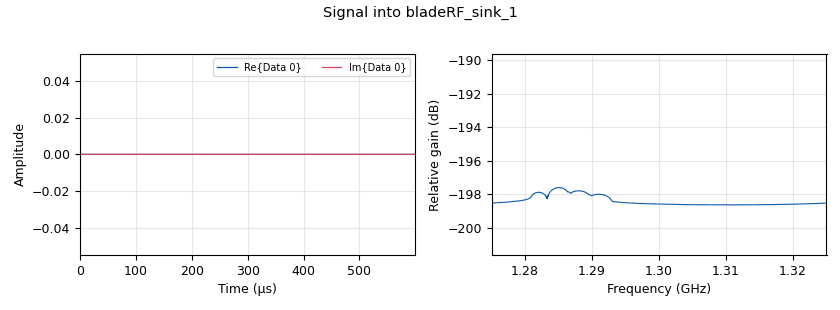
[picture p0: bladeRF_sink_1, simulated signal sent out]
options:
  parameters:
    generate_options: no_gui
    id: chirp_generator
    output_language: python
    title: hola soy la gui
  states: {}

blocks:
- name: P
  id: variable
  parameters:
    value: '1'
  states: {}
- name: PRF
  id: variable
  parameters:
    value: '500'
  states: {}
- name: PRI
  id: variable
  parameters:
    value: 1/PRF
  states: {}
- name: T_chirp
  id: variable
  parameters:
    value: 0.5/PRF
  states: {}
- name: f_end
  id: variable
  parameters:
    value: 19e6
  states: {}
- name: f_start
  id: variable
  parameters:
    value: '-19e6'
  states: {}
- name: fs
  id: variable
  parameters:
    value: 50e6
  states: {}
- name: samples_for_pulse
  id: variable
  parameters:
    value: fs*PRI
  states: {}
- name: analog_sig_source_x_0
  id: analog_sig_source_x
  parameters:
    amp: '1'
    freq: '0'
    offset: '0'
    phase: '0'
    samp_rate: fs
    type: complex
    waveform: analog.GR_COS_WAVE
  states: {state: disabled}
- name: bladeRF_sink_1
  id: bladeRF_sink
  parameters:
    bias_tee0: 'False'
    bias_tee1: 'False'
    buffers: '16'
    buflen: '2500'
    bw: 38e6
    dac: '10000'
    dc_calibration: LPF_TUNING
    device_id: '0'
    feature: default
    fpga_image: ''
    fpga_reload: 'False'
    freq: 1.3e9
    gain0: '20'
    gain1: '10'
    if_gain0: '20'
    if_gain1: '20'
    in_clk: ONBOARD
    lpf_mode: disabled
    metadata: 'True'
    nchan: '1'
    out_clk: 'False'
    ref_clk: 10e6
    sample_format: 16bit
    sample_rate: fs
    sampling: internal
    show_pmic: 'False'
    smb: '0'
    tamer: internal
    trigger0: 'False'
    trigger1: 'False'
    trigger_role0: master
    trigger_role1: master
    trigger_signal0: J51_1
    trigger_signal1: J51_1
    use_dac: 'False'
    use_ref_clk: 'True'
    verbosity: verbose
    xb200: none
  states: {}
- name: blocks_add_const_vxx_0
  id: blocks_add_const_vxx
  parameters:
    const: '0'
    type: complex
  states: {}
- name: epy_block_0
  id: epy_block
  parameters:
    _source_code: "import numpy as np\nfrom gnuradio import gr\n\nclass Pulse_generator(gr.sync_block):\n    def __init__(self, f_start=-100e3, f_end=100e3, t_chirp=0.5e-3, prf=1e3, fs=1e6, potencia=1.0, modo='up'):\n        gr.sync_block.__init__(\n            self,\n            name='Pulse_generator',   \n            in_sig=[],\n            out_sig=[np.complex64]\n        )\n        \n        self.f_start = f_start\n        self.f_end = f_end\n        self.t_chirp = t_chirp\n        self.prf = prf\n        self.fs = fs\n        self.potencia = potencia\n        self.modo = modo.lower()\n        self.amplitud = np.sqrt(potencia)\n\n        self.N = 2**32  # tamaño del acumulador de fase (32 bits)\n        self.samples_per_chirp = int(self.t_chirp * self.fs)\n        self.samples_per_pri = int((1 / self.prf) * self.fs)\n\n        # Para modo down invierto f_start y f_end\n        if self.modo == 'down':\n            f1 = self.f_end\n            f2 = self.f_start\n        else:\n            f1 = self.f_start\n            f2 = self.f_end\n\n        # Array de FTW en float64 para soportar valores negativos\n        self.ftw_array = np.linspace(\n            f1 * self.N / self.fs,\n            f2 * self.N / self.fs,\n            self.samples_per_chirp\n        ).astype(np.float64)\n\n        # Buffer PRI completo\n        self.pri_buffer = np.zeros(self.samples_per_pri, dtype=np.complex64)\n        self._generate_pri_buffer()\n\n        self.ptr = 0  # puntero circular para salida\n\n    def _generate_pri_buffer(self):\n        phase = 0.0\n        for i in range(self.samples_per_chirp):\n            phase = (phase + self.ftw_array[i]) % self.N\n            theta = 2 * np.pi * phase / self.N\n            self.pri_buffer[i] = self.amplitud * np.exp(1j * theta)\n        # Silencio en el resto del PRI\n        self.pri_buffer[self.samples_per_chirp:] = 0\n\n    def work(self, input_items, output_items):\n        out = output_items[0]\n        noutput = len(out)\n        buffer_len = len(self.pri_buffer)\n\n        remaining = buffer_len - self.ptr\n\n        if noutput <= remaining:\n            out[:noutput] = self.pri_buffer[self.ptr:self.ptr + noutput]\n            self.ptr = (self.ptr + noutput) % buffer_len\n        else:\n            out[:remaining] = self.pri_buffer[self.ptr:]\n            wrap = noutput - remaining\n            out[remaining:noutput] = self.pri_buffer[:wrap]\n            self.ptr = wrap\n\n        return noutput\n\n\n\n        \n"
    f_end: f_end
    f_start: f_start
    fs: fs
    modo: '''down'''
    potencia: P
    prf: PRF
    t_chirp: T_chirp
  states: {}
- name: qtgui_freq_sink_x_0
  id: qtgui_freq_sink_x
  parameters:
    autoscale: 'True'
    bw: fs
    fc: f_start
    fftsize: '32768'
    type: complex
    update_time: '0.3'
    wintype: window.WIN_RECTANGULAR
  states: {state: disabled}

connections:
- [analog_sig_source_x_0, '0', bladeRF_sink_1, '0']
- [analog_sig_source_x_0, '0', qtgui_freq_sink_x_0, '0']
- [blocks_add_const_vxx_0, '0', bladeRF_sink_1, '0']
- [epy_block_0, '0', blocks_add_const_vxx_0, '0']
- [epy_block_0, '0', qtgui_freq_sink_x_0, '0']

metadata:
  file_format: 1
  grc_version: 3.10.9.2
